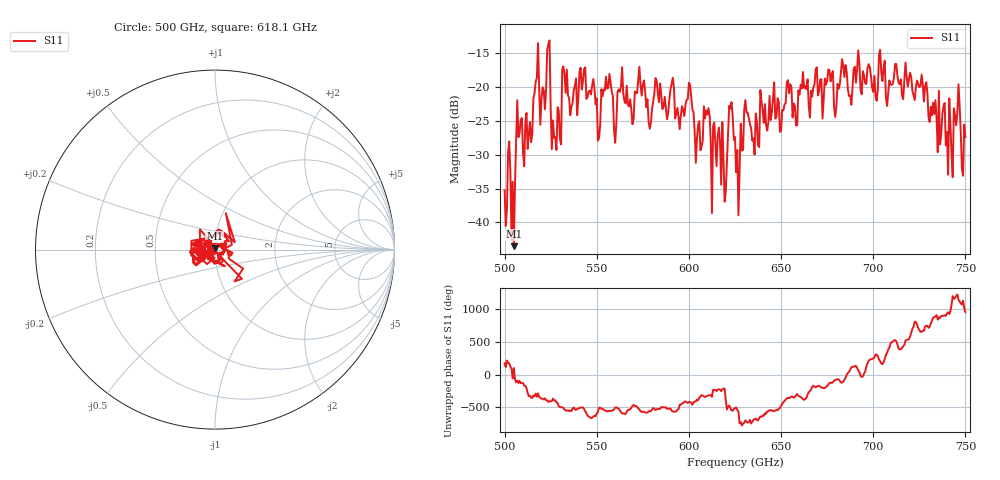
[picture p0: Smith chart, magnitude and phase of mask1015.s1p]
!Created with skrf (http://scikit-rf.org).
# GHz S MA R 50.0
!freq magS11 angS11
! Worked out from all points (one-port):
!   401 points, 500 GHz to 750 GHz, reference 50 ohm
!   lowest |S11| = -43.5 dB at 505 GHz (marker M1), VSWR 1.01, Z = 49.9 + j0.654 ohm
!   |S11| at or under -10 dB: start of sweep to end of sweep
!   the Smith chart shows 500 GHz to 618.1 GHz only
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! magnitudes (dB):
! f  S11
! 500 GHz  -35.3
! 505 GHz  -43.5
! 507.5 GHz  -27.4
! 513.8 GHz  -25.2
! 516.9 GHz  -19.2
! 520.6 GHz  -20.0
! 523.8 GHz  -13.6
! 526.9 GHz  -27.5
! 531.2 GHz  -17.4
! 542.5 GHz  -19.1
! 550.6 GHz  -27.9
! 562.5 GHz  -20.7
! 590.6 GHz  -19.4
! 593.8 GHz  -23.1
! 609.4 GHz  -23.4
! 618.8 GHz  -30.6
! 622.5 GHz  -23.2
! 625 GHz  -27.4
! 626.2 GHz  -29.3
! 631.2 GHz  -23.8
! 636.9 GHz  -25.1
! 656.2 GHz  -24.5
! 676.9 GHz  -19.2
! 680 GHz  -22.9
! 683.8 GHz  -17.0
! 687.5 GHz  -21.3
! 718.8 GHz  -19.9
! 750 GHz  -27.4
